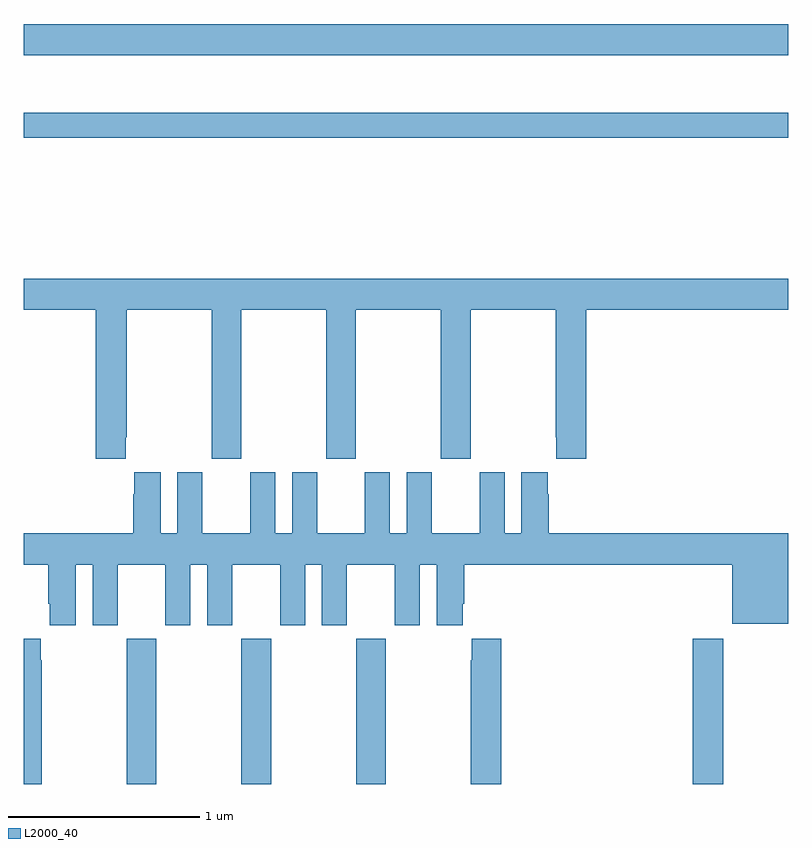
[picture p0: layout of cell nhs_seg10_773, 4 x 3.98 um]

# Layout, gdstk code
import gdstk
lib = gdstk.Library(unit=1e-6, precision=1e-09)
def R(c, l, rs):  # rectangles x0, y0, x1, y1
    for r in rs: c.add(gdstk.rectangle(r[:2], r[2:], *l))
def A(c, l, x, y, w, h, nx, ny, dx, dy):  # array of equal rectangles
    R(c, l, [(x+i*dx, y+j*dy, x+i*dx+w, y+j*dy+h) for i in range(nx) for j in range(ny)])
def P(c, l, *ps):  # polygons
    for p in ps: c.add(gdstk.Polygon(p, *l))
L2000_40 = (2000, 40)

nhs_seg10_773 = lib.new_cell('nhs_seg10_773')
A(nhs_seg10_773, L2000_40, 149.539, 1300.5, 0.155, 0.76, 3, 1, 0.6, 0)
R(nhs_seg10_773, L2000_40, [(152.501,1300.5,152.661,1301.26), (149,1303.882,153,1304.011), (149,1304.312,153,1304.476)])
P(nhs_seg10_773, L2000_40, [(149.533,1302.313),(149.538,1302.313),(149.538,1302.98),(149.983,1302.98),(149.983,1302.201),(150.138,1302.201),(150.138,1302.98),(150.583,1302.98),(150.583,1302.201),(150.738,1302.201),(150.738,1302.98),(151.183,1302.98),(151.183,1302.201),(151.338,1302.201),(151.338,1302.98),(151.783,1302.98),(151.783,1302.313),(151.787,1302.313),(151.787,1302.201),(151.943,1302.201),(151.943,1302.98),(153,1302.98),(153,1303.144),(149,1303.144),(149,1302.98),(149.378,1302.98),(149.378,1302.201),(149.533,1302.201)],
  [(149,1301.648),(149.129,1301.648),(149.129,1301.443),(149.135,1301.443),(149.135,1301.331),(149.272,1301.331),(149.272,1301.648),(149.36,1301.648),(149.36,1301.331),(149.491,1301.331),(149.491,1301.648),(149.741,1301.648),(149.741,1301.331),(149.872,1301.331),(149.872,1301.648),(149.96,1301.648),(149.96,1301.331),(150.091,1301.331),(150.091,1301.648),(150.341,1301.648),(150.341,1301.331),(150.472,1301.331),(150.472,1301.648),(150.56,1301.648),(150.56,1301.331),(150.691,1301.331),(150.691,1301.648),(150.941,1301.648),(150.941,1301.331),(151.072,1301.331),(151.072,1301.648),(151.16,1301.648),(151.16,1301.331),(151.297,1301.331),(151.297,1301.443),(151.304,1301.443),(151.304,1301.648),(152.708,1301.648),(152.708,1301.339),(153,1301.339),(153,1301.812),(151.748,1301.812),(151.748,1302.017),(151.741,1302.017),(151.741,1302.13),(151.604,1302.13),(151.604,1301.812),(151.516,1301.812),(151.516,1302.13),(151.385,1302.13),(151.385,1301.812),(151.135,1301.812),(151.135,1302.13),(151.004,1302.13),(151.004,1301.812),(150.916,1301.812),(150.916,1302.13),(150.785,1302.13),(150.785,1301.812),(150.535,1301.812),(150.535,1302.13),(150.404,1302.13),(150.404,1301.812),(150.316,1301.812),(150.316,1302.13),(150.185,1302.13),(150.185,1301.812),(149.935,1301.812),(149.935,1302.13),(149.804,1302.13),(149.804,1301.812),(149.716,1301.812),(149.716,1302.13),(149.579,1302.13),(149.579,1302.017),(149.573,1302.017),(149.573,1301.812),(149,1301.812)],
  [(149.094,1301.147),(149.089,1301.147),(149.089,1301.26),(149,1301.26),(149,1300.5),(149.094,1300.5)],
  [(151.499,1301.26),(151.343,1301.26),(151.343,1301.147),(151.339,1301.147),(151.339,1300.5),(151.499,1300.5)])

lib.write_gds('nhs_seg10_773.gds')
